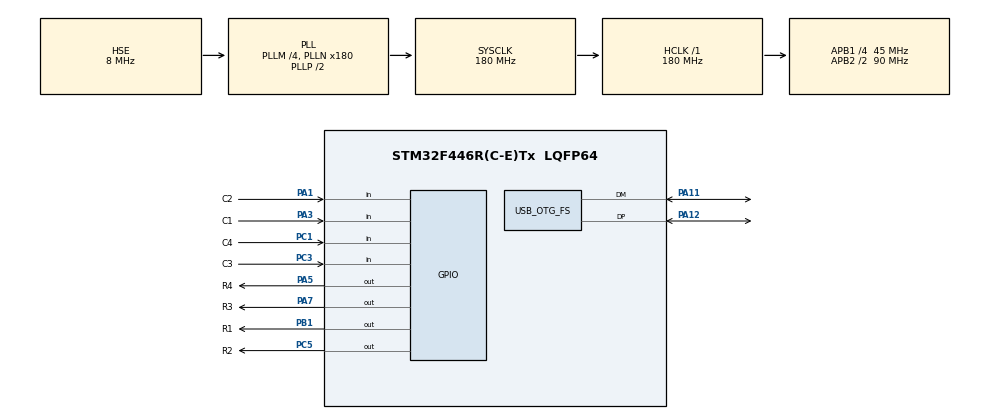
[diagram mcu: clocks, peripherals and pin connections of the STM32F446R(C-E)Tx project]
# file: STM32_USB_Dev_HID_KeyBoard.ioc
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Mcu.Family=STM32F4
Mcu.Name=STM32F446R(C-E)Tx
Mcu.Package=LQFP64
NVIC.OTG_FS_IRQn=true\:0\:0\:false\:false\:true\:false\:true\:true
NVIC.PriorityGroup=NVIC_PRIORITYGROUP_4
PA1.GPIO_Label=C2
PA1.GPIO_PuPd=GPIO_PULLUP
PA1.Signal=GPIO_Input
PA11.Mode=Device_Only
PA11.Signal=USB_OTG_FS_DM
PA12.Mode=Device_Only
PA12.Signal=USB_OTG_FS_DP
PA13.Mode=Serial_Wire
PA13.Signal=SYS_JTMS-SWDIO
PA14.Mode=Serial_Wire
PA14.Signal=SYS_JTCK-SWCLK
PA3.GPIO_Label=C1
PA3.GPIO_PuPd=GPIO_PULLUP
PA3.Signal=GPIO_Input
PA5.GPIO_Label=R4
PA5.PinState=GPIO_PIN_SET
PA5.Signal=GPIO_Output
PA7.GPIO_Label=R3
PA7.PinState=GPIO_PIN_SET
PA7.Signal=GPIO_Output
PB1.GPIO_Label=R1
PB1.PinState=GPIO_PIN_SET
PB1.Signal=GPIO_Output
PC1.GPIO_Label=C4
PC1.GPIO_PuPd=GPIO_PULLUP
PC1.Signal=GPIO_Input
PC3.GPIO_Label=C3
PC3.GPIO_PuPd=GPIO_PULLUP
PC3.Signal=GPIO_Input
PC5.GPIO_Label=R2
PC5.PinState=GPIO_PIN_SET
PC5.Signal=GPIO_Output
PH0-OSC_IN.Mode=HSE-External-Oscillator
PH0-OSC_IN.Signal=RCC_OSC_IN
PH1-OSC_OUT.Mode=HSE-External-Oscillator
PH1-OSC_OUT.Signal=RCC_OSC_OUT
ProjectManager.HeapSize=0x200
ProjectManager.StackSize=0x400
ProjectManager.TargetToolchain=STM32CubeIDE
RCC.AHBFreq_Value=180000000
RCC.APB1CLKDivider=RCC_HCLK_DIV4
RCC.APB1Freq_Value=45000000
RCC.APB1TimFreq_Value=90000000
RCC.APB2CLKDivider=RCC_HCLK_DIV2
RCC.APB2Freq_Value=90000000
RCC.APB2TimFreq_Value=180000000
RCC.CortexFreq_Value=180000000
RCC.HCLKFreq_Value=180000000
RCC.HSE_VALUE=8000000
RCC.PLLM=4
RCC.PLLN=180
RCC.PLLSAIM=8
RCC.PLLSAIP=RCC_PLLSAIP_DIV4
RCC.PLLSourceVirtual=RCC_PLLSOURCE_HSE
RCC.SYSCLKFreq_VALUE=180000000
RCC.SYSCLKSource=RCC_SYSCLKSOURCE_PLLCLK
RCC.USBCLockSelection=RCC_CLK48CLKSOURCE_PLLSAIP
RCC.USBFreq_Value=48000000
RCC.VCOOutputFreq_Value=360000000
USB_DEVICE.CLASS_NAME_FS=HID
USB_DEVICE.PRODUCT_STRING_HID_FS=STM32 Gamepad
USB_DEVICE.VirtualMode-HID_FS=Hid
USB_DEVICE.VirtualModeFS=Hid_FS
USB_OTG_FS.VirtualMode=Device_Only
VP_USB_DEVICE_VS_USB_DEVICE_HID_FS.Mode=HID_FS
board=custom

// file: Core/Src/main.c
/* USER CODE BEGIN Header */
/**
  ******************************************************************************
  * @file           : main.c
  * @brief          : Main program body
  ******************************************************************************
  * @attention
  *
  * Copyright (c) 2026 STMicroelectronics.
  * All rights reserved.
  *
  * This software is licensed under terms that can be found in the LICENSE file
  * in the root directory of this software component.
  * If no LICENSE file comes with this software, it is provided AS-IS.
  *
  ******************************************************************************
  */
/* USER CODE END Header */
#include "main.h"
#include "usb_device.h"

/* USER CODE BEGIN Includes */
#include "usbd_hid.h"
/* USER CODE END Includes */

void SystemClock_Config(void);
static void MX_GPIO_Init(void);

/* USER CODE BEGIN 0 */
extern USBD_HandleTypeDef hUsbDeviceFS;

uint8_t HID_Buffer[8] = {0};

uint8_t modifier = 0;
uint8_t keycode = 0;

void scanKeypad (void)
{
	modifier = keycode = 0;

	HAL_GPIO_WritePin(R1_GPIO_Port, R1_Pin, GPIO_PIN_RESET);
	HAL_GPIO_WritePin(R2_GPIO_Port, R2_Pin, GPIO_PIN_SET);
	HAL_GPIO_WritePin(R3_GPIO_Port, R3_Pin, GPIO_PIN_SET);
	HAL_GPIO_WritePin(R4_GPIO_Port, R4_Pin, GPIO_PIN_SET);
	HAL_Delay(1);
	if (HAL_GPIO_ReadPin(C1_GPIO_Port, C1_Pin) == GPIO_PIN_RESET) keycode = 0x1E;  // 1
	if (HAL_GPIO_ReadPin(C2_GPIO_Port, C2_Pin) == GPIO_PIN_RESET) keycode = 0x1F;  // 2
	if (HAL_GPIO_ReadPin(C3_GPIO_Port, C3_Pin) == GPIO_PIN_RESET) keycode = 0x20;  // 3
	if (HAL_GPIO_ReadPin(C4_GPIO_Port, C4_Pin) == GPIO_PIN_RESET) keycode = 0x04;  // a

	HAL_GPIO_WritePin(R1_GPIO_Port, R1_Pin, GPIO_PIN_SET);
	HAL_GPIO_WritePin(R2_GPIO_Port, R2_Pin, GPIO_PIN_RESET);
	HAL_GPIO_WritePin(R3_GPIO_Port, R3_Pin, GPIO_PIN_SET);
	HAL_GPIO_WritePin(R4_GPIO_Port, R4_Pin, GPIO_PIN_SET);
	HAL_Delay(1);
	if (HAL_GPIO_ReadPin(C1_GPIO_Port, C1_Pin) == GPIO_PIN_RESET) keycode = 0x21;  // 4
	if (HAL_GPIO_ReadPin(C2_GPIO_Port, C2_Pin) == GPIO_PIN_RESET) keycode = 0x22;  // 5
	if (HAL_GPIO_ReadPin(C3_GPIO_Port, C3_Pin) == GPIO_PIN_RESET) keycode = 0x23;  // 6
	if (HAL_GPIO_ReadPin(C4_GPIO_Port, C4_Pin) == GPIO_PIN_RESET) keycode = 0x05;  // b

	HAL_GPIO_WritePin(R1_GPIO_Port, R1_Pin, GPIO_PIN_SET);
	HAL_GPIO_WritePin(R2_GPIO_Port, R2_Pin, GPIO_PIN_SET);
	HAL_GPIO_WritePin(R3_GPIO_Port, R3_Pin, GPIO_PIN_RESET);
	HAL_GPIO_WritePin(R4_GPIO_Port, R4_Pin, GPIO_PIN_SET);
	HAL_Delay(1);
	if (HAL_GPIO_ReadPin(C1_GPIO_Port, C1_Pin) == GPIO_PIN_RESET) keycode = 0x24;  // 7
	if (HAL_GPIO_ReadPin(C2_GPIO_Port, C2_Pin) == GPIO_PIN_RESET) keycode = 0x25;  // 8
	if (HAL_GPIO_ReadPin(C3_GPIO_Port, C3_Pin) == GPIO_PIN_RESET) keycode = 0x26;  // 9
	if (HAL_GPIO_ReadPin(C4_GPIO_Port, C4_Pin) == GPIO_PIN_RESET) keycode = 0x06;  // c

	HAL_GPIO_WritePin(R1_GPIO_Port, R1_Pin, GPIO_PIN_SET);
	HAL_GPIO_WritePin(R2_GPIO_Port, R2_Pin, GPIO_PIN_SET);
	HAL_GPIO_WritePin(R3_GPIO_Port, R3_Pin, GPIO_PIN_SET);
	HAL_GPIO_WritePin(R4_GPIO_Port, R4_Pin, GPIO_PIN_RESET);
	HAL_Delay(1);
	if (HAL_GPIO_ReadPin(C1_GPIO_Port, C1_Pin) == GPIO_PIN_RESET) modifier |= 1<<1;  // L-SHIFT
	if (HAL_GPIO_ReadPin(C2_GPIO_Port, C2_Pin) == GPIO_PIN_RESET) keycode = 0x2C;  // 0  SPACE
	if (HAL_GPIO_ReadPin(C3_GPIO_Port, C3_Pin) == GPIO_PIN_RESET) keycode = 0x2A;  // BACKSPACE
	if (HAL_GPIO_ReadPin(C4_GPIO_Port, C4_Pin) == GPIO_PIN_RESET) keycode = 0x07;  // d
}

/* USER CODE END 0 */

int main(void)
{

  /* MCU Configuration--------------------------------------------------------*/

  /* Reset of all peripherals, Initializes the Flash interface and the Systick. */
  HAL_Init();

  /* Configure the system clock */
  SystemClock_Config();

  /* Initialize all configured peripherals */
  MX_GPIO_Init();
  MX_USB_DEVICE_Init();

  /* Infinite loop */
  while (1)
  {

    /* USER CODE BEGIN 3 */

	  scanKeypad();
	  HID_Buffer[0] = modifier;
	  HID_Buffer[2] = keycode;

	  USBD_HID_SendReport(&hUsbDeviceFS, (uint8_t *)HID_Buffer, 8);
	  HAL_Delay(10);
  }
  /* USER CODE END 3 */
}

void SystemClock_Config(void)
{
  RCC_OscInitTypeDef RCC_OscInitStruct = {0};
  RCC_ClkInitTypeDef RCC_ClkInitStruct = {0};

  /** Configure the main internal regulator output voltage
  */
  __HAL_RCC_PWR_CLK_ENABLE();
  __HAL_PWR_VOLTAGESCALING_CONFIG(PWR_REGULATOR_VOLTAGE_SCALE1);

  /** Initializes the RCC Oscillators according to the specified parameters
  * in the RCC_OscInitTypeDef structure.
  */
  RCC_OscInitStruct.OscillatorType = RCC_OSCILLATORTYPE_HSE;
  RCC_OscInitStruct.HSEState = RCC_HSE_ON;
  RCC_OscInitStruct.PLL.PLLState = RCC_PLL_ON;
  RCC_OscInitStruct.PLL.PLLSource = RCC_PLLSOURCE_HSE;
  RCC_OscInitStruct.PLL.PLLM = 4;
  RCC_OscInitStruct.PLL.PLLN = 180;
  RCC_OscInitStruct.PLL.PLLP = RCC_PLLP_DIV2;
  RCC_OscInitStruct.PLL.PLLQ = 2;
  RCC_OscInitStruct.PLL.PLLR = 2;
  if (HAL_RCC_OscConfig(&RCC_OscInitStruct) != HAL_OK)
  {
    Error_Handler();
  }

  /** Activate the Over-Drive mode
  */
  if (HAL_PWREx_EnableOverDrive() != HAL_OK)
  {
    Error_Handler();
  }

  /** Initializes the CPU, AHB and APB buses clocks
  */
  RCC_ClkInitStruct.ClockType = RCC_CLOCKTYPE_HCLK|RCC_CLOCKTYPE_SYSCLK
                              |RCC_CLOCKTYPE_PCLK1|RCC_CLOCKTYPE_PCLK2;
  RCC_ClkInitStruct.SYSCLKSource = RCC_SYSCLKSOURCE_PLLCLK;
  RCC_ClkInitStruct.AHBCLKDivider = RCC_SYSCLK_DIV1;
  RCC_ClkInitStruct.APB1CLKDivider = RCC_HCLK_DIV4;
  RCC_ClkInitStruct.APB2CLKDivider = RCC_HCLK_DIV2;

  if (HAL_RCC_ClockConfig(&RCC_ClkInitStruct, FLASH_LATENCY_5) != HAL_OK)
  {
    Error_Handler();
  }
}

static void MX_GPIO_Init(void)
{
  GPIO_InitTypeDef GPIO_InitStruct = {0};

  /* GPIO Ports Clock Enable */
  __HAL_RCC_GPIOH_CLK_ENABLE();
  __HAL_RCC_GPIOC_CLK_ENABLE();
  __HAL_RCC_GPIOA_CLK_ENABLE();
  __HAL_RCC_GPIOB_CLK_ENABLE();

  /*Configure GPIO pin Output Level */
  HAL_GPIO_WritePin(GPIOA, R4_Pin|R3_Pin, GPIO_PIN_SET);

  /*Configure GPIO pin Output Level */
  HAL_GPIO_WritePin(R2_GPIO_Port, R2_Pin, GPIO_PIN_SET);

  /*Configure GPIO pin Output Level */
  HAL_GPIO_WritePin(R1_GPIO_Port, R1_Pin, GPIO_PIN_SET);

  /*Configure GPIO pins : C4_Pin C3_Pin */
  GPIO_InitStruct.Pin = C4_Pin|C3_Pin;
  GPIO_InitStruct.Mode = GPIO_MODE_INPUT;
  GPIO_InitStruct.Pull = GPIO_PULLUP;
  HAL_GPIO_Init(GPIOC, &GPIO_InitStruct);

  /*Configure GPIO pins : C2_Pin C1_Pin */
  GPIO_InitStruct.Pin = C2_Pin|C1_Pin;
  GPIO_InitStruct.Mode = GPIO_MODE_INPUT;
  GPIO_InitStruct.Pull = GPIO_PULLUP;
  HAL_GPIO_Init(GPIOA, &GPIO_InitStruct);

  /*Configure GPIO pins : R4_Pin R3_Pin */
  GPIO_InitStruct.Pin = R4_Pin|R3_Pin;
  GPIO_InitStruct.Mode = GPIO_MODE_OUTPUT_PP;
  GPIO_InitStruct.Pull = GPIO_NOPULL;
  GPIO_InitStruct.Speed = GPIO_SPEED_FREQ_LOW;
  HAL_GPIO_Init(GPIOA, &GPIO_InitStruct);

  /*Configure GPIO pin : R2_Pin */
  GPIO_InitStruct.Pin = R2_Pin;
  GPIO_InitStruct.Mode = GPIO_MODE_OUTPUT_PP;
  GPIO_InitStruct.Pull = GPIO_NOPULL;
  GPIO_InitStruct.Speed = GPIO_SPEED_FREQ_LOW;
  HAL_GPIO_Init(R2_GPIO_Port, &GPIO_InitStruct);

  /*Configure GPIO pin : R1_Pin */
  GPIO_InitStruct.Pin = R1_Pin;
  GPIO_InitStruct.Mode = GPIO_MODE_OUTPUT_PP;
  GPIO_InitStruct.Pull = GPIO_NOPULL;
  GPIO_InitStruct.Speed = GPIO_SPEED_FREQ_LOW;
  HAL_GPIO_Init(R1_GPIO_Port, &GPIO_InitStruct);

}

void Error_Handler(void)
{
  __disable_irq();
  while (1)
  {
  }
}
